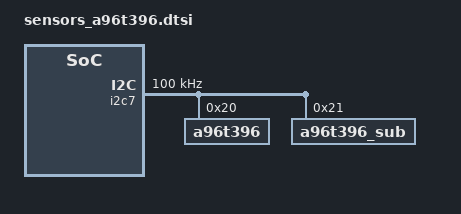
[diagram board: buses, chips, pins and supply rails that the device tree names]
#if 1

&pio {
	grip_i2c_sda: grip-i2c-sda {
		GPIO_CONFIG_PUD_DRV(AP,pio,112, FUNC_INPUT, PULL_UP, DRV_LV1);
	};
	grip_i2c_scl: grip-i2c-scl {
		GPIO_CONFIG_PUD_DRV(AP,pio,111, FUNC_INPUT, PULL_UP, DRV_LV1);
	};
};

&pio {
	grip_int: grip-int {
		GPIO_CONFIG_PUD_DRV(AP,pio,17, FUNC_INPUT_WAKEUP, PULL_NONE, DRV_LV1);
	};
};

&i2c7 {
	gpios = <SEC_GPIO_REF(AP,pio,112) 0 /* sda */
			SEC_GPIO_REF(AP,pio,111) 0>; /* scl */
	pinctrl-0 = <&grip_i2c_sda
				 &grip_i2c_scl
				 >;
	#address-cells = <1>;
	#size-cells = <0>;
	status = "okay";
	clock-frequency = <100000>;
	a96t396: a96t396@20 {
		compatible = "a96t396";
		reg = <0x20>;

		pinctrl-names = "default";
		pinctrl-0 = <&grip_int>;

		interrupt-parent = <SEC_GPIO_TYPE(AP,pio,17)>;
		interrupts = <SEC_GPIO_NUM(AP,pio,17) 0>;

		a96t396,irq_gpio = <SEC_GPIO_REF(AP,pio,17) 0>;
#if 1
		a96t396,ldo_en = <SEC_GPIO_REF(AP,pio,139) 0>;
#endif
#if 0
		a96t396,dvdd_vreg_name = "VDD_GRIP_3P3";
#endif
		a96t396,multi_use = <1>;
#if 1
		a96t396,unknown_ch_selection = <3>; /*bit "0 0" => no use , "0 1" => 1ch only, "1 0" => 2ch only, "1 1" 1ch 2ch both*/
#endif
		a96t396,fw_path = "abov/a96t396_a13x_eur_main.bin";
		a96t396,firmup_cmd = <0x90>;
	};
};
#endif

/* ---- SUB GRIP---- */
#if 1

&pio {
	grip_sub_i2c_sda: grip-sub-i2c-sda {
		GPIO_CONFIG_PUD_DRV(AP,pio,112, FUNC_INPUT, PULL_UP, DRV_LV1);
	};
	grip_sub_i2c_scl: grip-sub-i2c-scl {
		GPIO_CONFIG_PUD_DRV(AP,pio,111, FUNC_INPUT, PULL_UP, DRV_LV1);
	};
};

&pio {
	grip_sub_int: grip-sub-int {
		GPIO_CONFIG_PUD_DRV(AP,pio,18, FUNC_INPUT_WAKEUP, PULL_NONE, DRV_LV1);
	};
};

&i2c7 {
	gpios = <SEC_GPIO_REF(AP,pio,112) 0 /* sda */
			SEC_GPIO_REF(AP,pio,111) 0>; /* scl */
	pinctrl-0 = <&grip_sub_i2c_sda
				 &grip_sub_i2c_scl
				>;
	#address-cells = <1>;
	#size-cells = <0>;
	status = "okay";
	clock-frequency = <100000>;
	a96t396_sub: a96t396_sub@21 {

		compatible = "a96t396_sub";
		reg = <0x21>;

		pinctrl-names = "default";
		pinctrl-0 = <&grip_sub_int>;

		interrupt-parent = <SEC_GPIO_TYPE(AP,pio,18)>;
		interrupts = <SEC_GPIO_NUM(AP,pio,18) 0>;

		a96t396_sub,irq_gpio = <SEC_GPIO_REF(AP,pio,18) 0>;
#if 0
		a96t396_sub,ldo_en = <SEC_GPIO_REF(${gpio_grip_sub_ldo_en}) 0>;
#else
		a96t396_sub,ldo_en = <SEC_GPIO_REF(AP,pio,139) 0>;
#endif
#if 0
		a96t396_sub,dvdd_vreg_name = "VDD_GRIP_3P3";
#endif
		a96t396_sub,multi_use = <0>;
#if 1
		a96t396_sub,unknown_ch_selection = <3>; /*bit "0 0" => no use , "0 1" => 1ch only, "1 0" => 2ch only, "1 1" 1ch 2ch both*/
#endif
		a96t396_sub,fw_path = "abov/a96t396_a13x_eur_sub.bin";
		a96t396_sub,firmup_cmd = <0x90>;
	};
};
#endif

/* ---- WIFI GRIP---- */
#if 0

&${gpio_grip_wifi_i2c_parent} {
	grip_wifi_i2c_sda: grip-wifi-i2c-sda {
		GPIO_CONFIG_PUD_DRV(${gpio_grip_wifi_i2c_sda}, FUNC_INPUT, PULL_UP, DRV_LV1);
	};
	grip_wifi_i2c_scl: grip-wifi-i2c-scl {
		GPIO_CONFIG_PUD_DRV(${gpio_grip_wifi_i2c_scl}, FUNC_INPUT, PULL_UP, DRV_LV1);
	};
};

&${gpio_grip_wifi_irq_parent} {
	grip_wifi_int: grip-wifi-int {
		GPIO_CONFIG_PUD_DRV(${gpio_grip_wifi_irq}, FUNC_INPUT_WAKEUP, PULL_NONE, DRV_LV1);
	};
};

&${i2c_grip_wifi} {
	gpios = <SEC_GPIO_REF(${gpio_grip_wifi_i2c_sda}) 0 /* sda */
			SEC_GPIO_REF(${gpio_grip_wifi_i2c_scl}) 0>; /* scl */
	pinctrl-0 = <&grip_wifi_i2c_sda
				 &grip_wifi_i2c_scl
				>;
	#address-cells = <1>;
	#size-cells = <0>;
	status = "okay";
	clock-frequency = <100000>;
	a96t396_wifi: a96t396_wifi@${a96t396_wifi_address} {

		compatible = "a96t396_wifi";
		reg = <0x${a96t396_wifi_address}>;

		pinctrl-names = "default";
		pinctrl-0 = <&grip_wifi_int>;

		interrupt-parent = <SEC_GPIO_TYPE(${gpio_grip_wifi_irq})>;
		interrupts = <SEC_GPIO_NUM(${gpio_grip_wifi_irq}) 0>;

		a96t396_wifi,irq_gpio = <SEC_GPIO_REF(${gpio_grip_wifi_irq}) 0>;
#if 0
		a96t396_wifi,ldo_en = <SEC_GPIO_REF(${gpio_grip_wifi_ldo_en}) 0>;
#else
		a96t396_wifi,ldo_en = <SEC_GPIO_REF(AP,pio,139) 0>;
#endif
#if 0
		a96t396_wifi,dvdd_vreg_name = "VDD_GRIP_3P3";
#endif
		a96t396_wifi,multi_use = <0>;
#if 0
		a96t396_wifi,unknown_ch_selection = <${a96t396_wifi_unknown_ch_sel}>; /*bit "0 0" => no use , "0 1" => 1ch only, "1 0" => 2ch only, "1 1" 1ch 2ch both*/
#endif
		a96t396_wifi,fw_path = "abov/a96t396_a13x_eur_wifi.bin";
		a96t396_wifi,firmup_cmd = <0x90>;
	};
};
#endif
/* /home/dpi/qb5_8814/workspace/P4_1716/android/kernel/kmodule/sensors/a96t396/dts/a96t396.a13x.dtsi */
&grip_i2c_sda {
	GPIO_CONFIG_PUD_DRV(AP,pio,112, FUNC_INPUT, PULL_UP, DRV_LV1);
};

&grip_i2c_scl {
	GPIO_CONFIG_PUD_DRV(AP,pio,111, FUNC_INPUT, PULL_UP, DRV_LV1);
};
